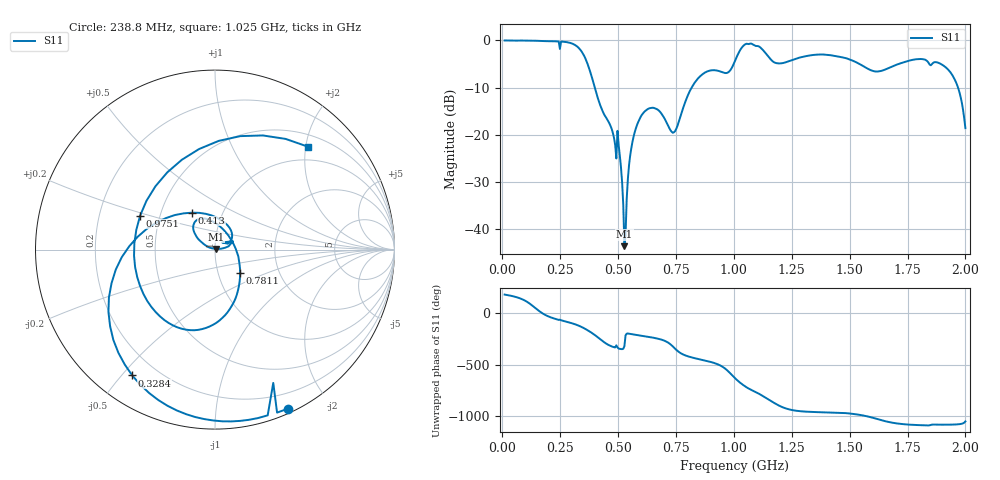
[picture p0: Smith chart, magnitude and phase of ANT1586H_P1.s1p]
!Created with skrf (http://scikit-rf.org).
# Hz S RI R 50.0
!freq ReS11 ImS11
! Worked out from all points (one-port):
!   401 points, 10 MHz to 2 GHz, reference 50 ohm
!   lowest |S11| = -43.6 dB at 527.4 MHz (marker M1), VSWR 1.01, Z = 50.5 + j0.405 ohm
!   |S11| at or under -10 dB: 399.5 MHz to 817.8 MHz (418.3 MHz wide, 68.7 % of centre); 1.968 GHz to end of sweep
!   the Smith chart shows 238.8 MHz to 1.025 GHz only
!   S11 on the Smith chart (normalised r, x): 238.8 MHz: 0.04, -1.55; 328.4 MHz: 0.11, -0.53; 413 MHz: 0.71, +0.31; 781.1 MHz: 1.27, -0.35; 975.1 MHz: 0.39, +0.19; 1.025 GHz: 0.72, +2.03
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1e7  -0.9954 0.0694
7.4675e7  -0.7711 0.63
1.1945e8  0.0581 0.9921
1.64225e8  0.9751 0.1437
1.9905e8  0.7992 -0.5684
2.3885e8  0.404 -0.8873
2.5875e8  0.2379 -0.939
3.284e8  -0.4609 -0.7014
3.63225e8  -0.5765 -0.1874
4.12975e8  -0.1289 0.2058
5.075e8  0.0594 0.0116
5.274e8  0.00528 0.00401
5.62225e8  -0.074 0.0406
6.02025e8  -0.1198 0.1087
7.5625e8  0.1228 -0.0167
7.81125e8  0.1403 -0.132
9.00525e8  -0.2088 -0.4335
9.7515e8  -0.417 0.1893
1.005e9  0.0206 0.6057
1.0249e9  0.5156 0.5742
1.0647e9  0.8915 -0.1989
1.119425e9  0.1871 -0.7981
1.17415e9  -0.5134 -0.2811
1.25375e9  -0.4677 0.4091
1.5025e9  -0.1737 0.6011
1.75125e9  0.6048 -0.00232
1.925375e9  0.4907 -0.0121
2e9  0.1016 0.0589
